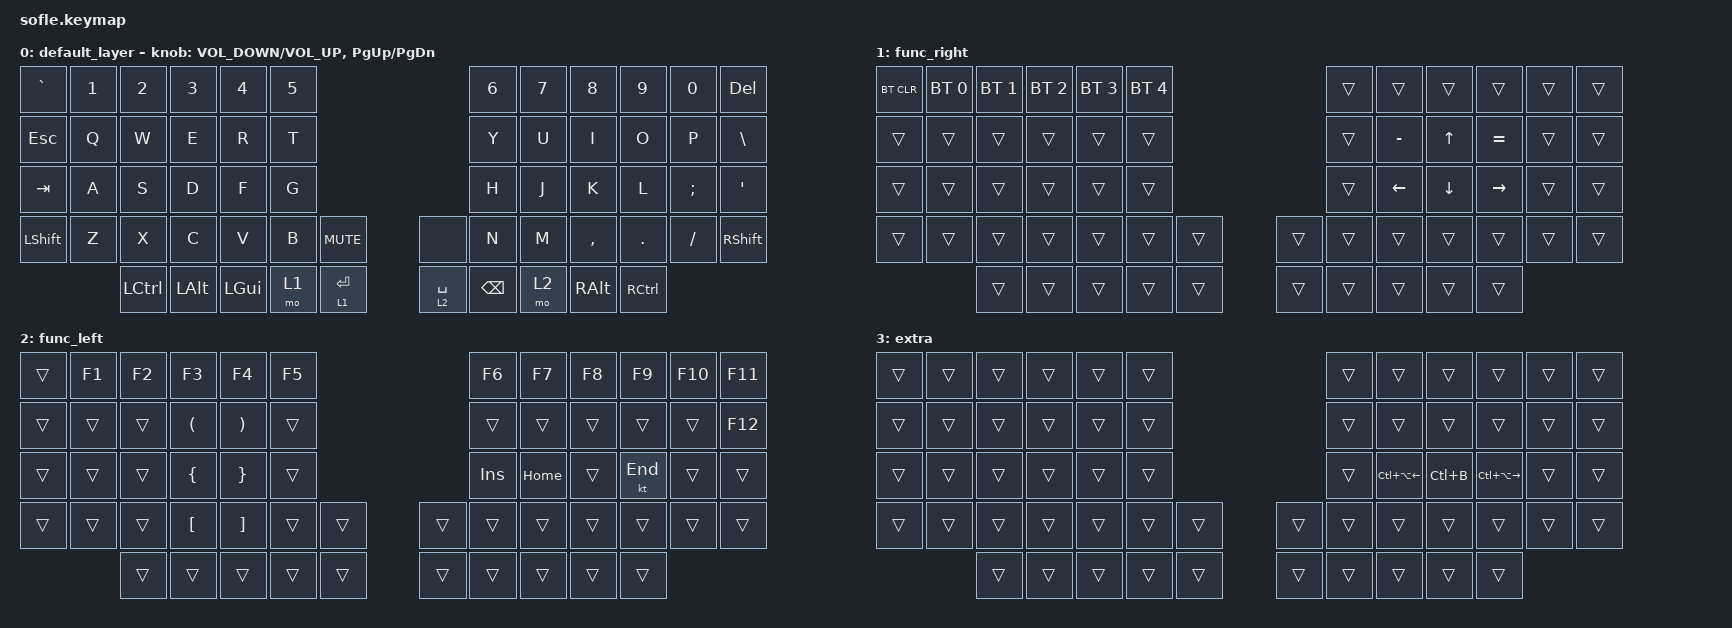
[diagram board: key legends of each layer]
/*
 * Copyright (c) 2020 The ZMK Contributors
 *
 * SPDX-License-Identifier: MIT
 */

#include <behaviors.dtsi>
#include <dt-bindings/zmk/bt.h>
#include <dt-bindings/zmk/keys.h>
#include <dt-bindings/zmk/keys.h>

#define BASE 0
#define LOWER 1
#define RAISE 2
#define ADJUST 3

/ {
    // Activate ADJUST layer by pressing raise and lower

    conditional_layers {
        compatible = "zmk,conditional-layers";

        left_and_right {
            if-layers = <1 2>;
            then-layer = <3>;
        };
    };

    behaviors {
        space_and_layer: space_and_layer {
            compatible = "zmk,behavior-hold-tap";
            label = "SPACE_AND_LAYER";
            bindings = <&mo>, <&kp>;

            #binding-cells = <2>;
            tapping-term-ms = <280>;
            flavor = "hold-preferred";
            hold-trigger-key-positions = <55>;
            hold-trigger-on-release;
        };

        enter_layer: enter_layer {
            compatible = "zmk,behavior-hold-tap";
            label = "ENTER_LAYER";
            bindings = <&mo>, <&kp>;

            #binding-cells = <2>;
            tapping-term-ms = <280>;
            flavor = "hold-preferred";
            hold-trigger-key-positions = <54>;
            hold-trigger-on-release;
        };
    };

    keymap {
        compatible = "zmk,keymap";

        default_layer {
            // ------------------------------------------------------------------------------------------------------------
            // |   `   |  1  |  2  |  3   |  4   |  5   |                   |  6   |  7    |  8    |  9   |   0   |       |
            // |  ESC  |  Q  |  W  |  E   |  R   |  T   |                   |  Y   |  U    |  I    |  O   |   P   | BKSPC |
            // |  TAB  |  A  |  S  |  D   |  F   |  G   |                   |  H   |  J    |  K    |  L   |   ;   |   '   |
            // | SHIFT |  Z  |  X  |  C   |  V   |  B   |  MUTE  |  |       |  N   |  M    |  ,    |  .   |   /   | SHIFT |
            //               | GUI | ALT  | CTRL | LOWER|  ENTER |  | SPACE | RAISE| CTRL  | ALT   | GUI  |

            bindings = <
&kp GRAVE  &kp N1  &kp N2     &kp N3    &kp N4        &kp N5                                                    &kp N6         &kp N7  &kp N8     &kp N9     &kp N0    &kp DEL
&kp ESC    &kp Q   &kp W      &kp E     &kp R         &kp T                                                     &kp Y          &kp U   &kp I      &kp O      &kp P     &kp BACKSLASH
&kp TAB    &kp A   &kp S      &kp D     &kp F         &kp G                                                     &kp H          &kp J   &kp K      &kp L      &kp SEMI  &kp SQT
&kp LSHFT  &kp Z   &kp X      &kp C     &kp V         &kp B   &kp C_MUTE              &none                     &kp N          &kp M   &kp COMMA  &kp DOT    &kp FSLH  &kp RSHFT
                   &kp LCTRL  &kp LALT  &kp LEFT_GUI  &mo 1   &enter_layer 1 ENTER    &space_and_layer 2 SPACE  &kp BACKSPACE  &mo 2   &kp RALT   &kp RCTRL
            >;

            sensor-bindings =
                <&inc_dec_kp C_VOLUME_DOWN C_VOLUME_UP>,
                <&inc_dec_kp PG_UP PG_DN>;
        };

        func_right {
            bindings = <
&bt BT_CLR  &bt BT_SEL 0  &bt BT_SEL 1  &bt BT_SEL 2  &bt BT_SEL 3  &bt BT_SEL 4                    &trans  &trans          &trans          &trans           &trans  &trans
&trans      &trans        &trans        &trans        &trans        &trans                          &trans  &kp MINUS       &kp UP_ARROW    &kp EQUAL        &trans  &trans
&trans      &trans        &trans        &trans        &trans        &trans                          &trans  &kp LEFT_ARROW  &kp DOWN_ARROW  &kp RIGHT_ARROW  &trans  &trans
&trans      &trans        &trans        &trans        &trans        &trans        &trans    &trans  &trans  &trans          &trans          &trans           &trans  &trans
                          &trans        &trans        &trans        &trans        &trans    &trans  &trans  &trans          &trans          &trans
            >;
        };

        func_left {
            bindings = <
&trans  &kp F1  &kp F2  &kp F3                &kp F4                 &kp F5                    &kp F6      &kp F7    &kp F8  &kp F9   &kp F10  &kp F11
&trans  &trans  &trans  &kp LEFT_PARENTHESIS  &kp RIGHT_PARENTHESIS  &trans                    &trans      &trans    &trans  &trans   &trans   &kp F12
&trans  &trans  &trans  &kp LEFT_BRACE        &kp RIGHT_BRACE        &trans                    &kp INSERT  &kp HOME  &trans  &kt END  &trans   &trans
&trans  &trans  &trans  &kp LEFT_BRACKET      &kp RIGHT_BRACKET      &trans  &trans    &trans  &trans      &trans    &trans  &trans   &trans   &trans
                &trans  &trans                &trans                 &trans  &trans    &trans  &trans      &trans    &trans  &trans
            >;
        };

        extra {
            bindings = <
&trans  &trans  &trans  &trans  &trans  &trans                    &trans  &trans            &trans     &trans             &trans  &trans
&trans  &trans  &trans  &trans  &trans  &trans                    &trans  &trans            &trans     &trans             &trans  &trans
&trans  &trans  &trans  &trans  &trans  &trans                    &trans  &kp LC(LA(LEFT))  &kp LC(B)  &kp LC(LA(RIGHT))  &trans  &trans
&trans  &trans  &trans  &trans  &trans  &trans  &trans    &trans  &trans  &trans            &trans     &trans             &trans  &trans
                &trans  &trans  &trans  &trans  &trans    &trans  &trans  &trans            &trans     &trans
            >;
        };
    };
};
